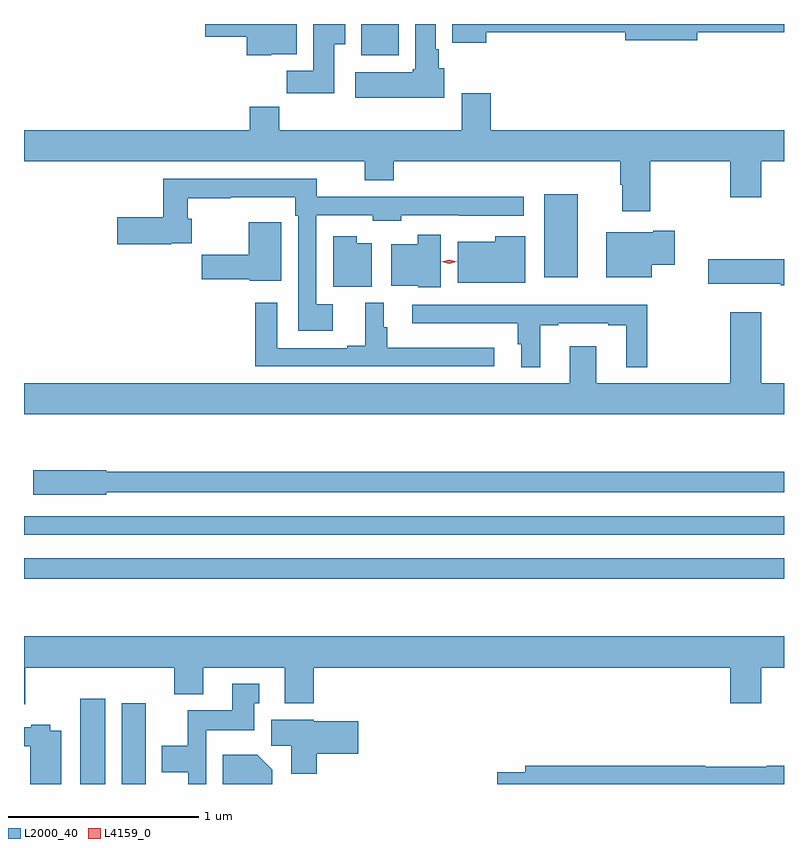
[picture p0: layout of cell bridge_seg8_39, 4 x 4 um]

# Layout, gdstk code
import gdstk
lib = gdstk.Library(unit=1e-6, precision=1e-09)
def R(c, l, rs):  # rectangles x0, y0, x1, y1
    for r in rs: c.add(gdstk.rectangle(r[:2], r[2:], *l))
def P(c, l, *ps):  # polygons
    for p in ps: c.add(gdstk.Polygon(p, *l))
L2000_40 = (2000, 40)
L4159_0 = (4159, 0)

bridge_seg8_39 = lib.new_cell('bridge_seg8_39')
R(bridge_seg8_39, L2000_40, [(1024.724,1130.539,1024.855,1130.989), (1024.943,1130.539,1025.068,1130.965), (1024.428,1131.618,1028.428,1131.726), (1024.428,1131.852,1028.428,1131.948), (1027.166,1133.207,1027.342,1133.644), (1026.203,1134.374,1026.4,1134.539)])
P(bridge_seg8_39, L2000_40, [(1026.061,1134.433),(1026.118,1134.433),(1026.118,1134.539),(1025.951,1134.539),(1025.951,1134.292),(1025.812,1134.292),(1025.812,1134.174),(1026.061,1134.174)],
  [(1026.862,1134.496),(1027.592,1134.496),(1027.592,1134.454),(1027.972,1134.454),(1027.972,1134.496),(1028.428,1134.496),(1028.428,1134.539),(1026.683,1134.539),(1026.683,1134.44),(1026.862,1134.44)],
  [(1025.73,1134.38),(1025.863,1134.38),(1025.863,1134.539),(1025.382,1134.539),(1025.382,1134.473),(1025.6,1134.473),(1025.6,1134.374),(1025.73,1134.374)],
  [(1026.64,1134.306),(1026.61,1134.306),(1026.61,1134.406),(1026.595,1134.406),(1026.595,1134.539),(1026.488,1134.539),(1026.488,1134.3),(1026.475,1134.3),(1026.475,1134.286),(1026.171,1134.286),(1026.171,1134.152),(1026.64,1134.152)],
  [(1027.725,1133.816),(1028.144,1133.816),(1028.144,1133.628),(1028.308,1133.628),(1028.308,1133.816),(1028.428,1133.816),(1028.428,1133.98),(1026.884,1133.98),(1026.884,1134.175),(1026.731,1134.175),(1026.731,1133.98),(1025.771,1133.98),(1025.771,1134.104),(1025.615,1134.104),(1025.615,1133.98),(1024.428,1133.98),(1024.428,1133.816),(1026.221,1133.816),(1026.221,1133.717),(1026.374,1133.717),(1026.374,1133.816),(1027.565,1133.816),(1027.565,1133.693),(1027.577,1133.693),(1027.577,1133.553),(1027.725,1133.553)],
  [(1026.052,1133.065),(1025.967,1133.065),(1025.967,1133.532),(1026.264,1133.532),(1026.264,1133.504),(1026.414,1133.504),(1026.414,1133.532),(1026.718,1133.532),(1026.718,1133.531),(1027.057,1133.531),(1027.057,1133.63),(1025.97,1133.63),(1025.97,1133.724),(1025.161,1133.724),(1025.161,1133.523),(1024.92,1133.523),(1024.92,1133.381),(1025.204,1133.381),(1025.204,1133.386),(1025.31,1133.386),(1025.31,1133.515),(1025.29,1133.515),(1025.29,1133.623),(1025.516,1133.623),(1025.516,1133.627),(1025.855,1133.627),(1025.855,1133.531),(1025.871,1133.531),(1025.871,1132.925),(1026.052,1132.925)],
  [(1025.782,1133.393),(1025.781,1133.393),(1025.781,1133.496),(1025.612,1133.496),(1025.612,1133.325),(1025.364,1133.325),(1025.364,1133.195),(1025.616,1133.195),(1025.616,1133.189),(1025.782,1133.189)],
  [(1027.732,1133.273),(1027.852,1133.273),(1027.852,1133.451),(1027.739,1133.451),(1027.739,1133.443),(1027.493,1133.443),(1027.493,1133.207),(1027.732,1133.207)],
  [(1026.622,1133.431),(1026.5,1133.431),(1026.5,1133.38),(1026.362,1133.38),(1026.362,1133.162),(1026.504,1133.162),(1026.504,1133.153),(1026.622,1133.153)],
  [(1027.066,1133.422),(1026.909,1133.422),(1026.909,1133.392),(1026.71,1133.392),(1026.71,1133.177),(1027.066,1133.177)],
  [(1026.259,1133.386),(1026.178,1133.386),(1026.178,1133.422),(1026.056,1133.422),(1026.056,1133.156),(1026.259,1133.156)],
  [(1028.428,1133.3),(1028.412,1133.3),(1028.412,1133.301),(1028.028,1133.301),(1028.028,1133.171),(1028.412,1133.171),(1028.412,1133.164),(1028.428,1133.164)],
  [(1026.904,1132.834),(1026.341,1132.834),(1026.341,1132.944),(1026.322,1132.944),(1026.322,1133.071),(1026.224,1133.071),(1026.224,1132.846),(1026.128,1132.846),(1026.128,1132.833),(1025.76,1132.833),(1025.76,1133.071),(1025.644,1133.071),(1025.644,1132.737),(1026.904,1132.737)],
  [(1027.144,1132.953),(1027.24,1132.953),(1027.24,1132.965),(1027.502,1132.965),(1027.502,1132.953),(1027.598,1132.953),(1027.598,1132.733),(1027.708,1132.733),(1027.708,1133.062),(1027.17,1133.062),(1027.17,1133.061),(1026.471,1133.061),(1026.471,1132.964),(1027.027,1132.964),(1027.027,1132.854),(1027.046,1132.854),(1027.046,1132.733),(1027.144,1132.733)],
  [(1028.428,1132.648),(1028.308,1132.648),(1028.308,1133.023),(1028.144,1133.023),(1028.144,1132.648),(1027.441,1132.648),(1027.441,1132.843),(1027.301,1132.843),(1027.301,1132.648),(1024.428,1132.648),(1024.428,1132.484),(1028.428,1132.484)],
  [(1024.86,1132.074),(1028.428,1132.074),(1028.428,1132.183),(1024.86,1132.183),(1024.86,1132.191),(1024.476,1132.191),(1024.476,1132.061),(1024.86,1132.061)],
  [(1024.435,1131.152),(1025.219,1131.152),(1025.219,1131.011),(1025.371,1131.011),(1025.371,1131.152),(1025.801,1131.152),(1025.801,1130.963),(1025.954,1130.963),(1025.954,1131.152),(1028.144,1131.152),(1028.144,1130.964),(1028.308,1130.964),(1028.308,1131.152),(1028.428,1131.152),(1028.428,1131.316),(1024.428,1131.316),(1024.428,1130.958),(1024.435,1130.958)],
  [(1025.388,1130.822),(1025.641,1130.822),(1025.641,1130.964),(1025.665,1130.964),(1025.665,1131.067),(1025.525,1131.067),(1025.525,1130.926),(1025.29,1130.926),(1025.29,1130.74),(1025.153,1130.74),(1025.153,1130.6),(1025.292,1130.6),(1025.292,1130.539),(1025.388,1130.539)],
  [(1025.969,1130.699),(1026.187,1130.699),(1026.187,1130.869),(1025.952,1130.869),(1025.952,1130.878),(1025.729,1130.878),(1025.729,1130.74),(1025.834,1130.74),(1025.834,1130.592),(1025.969,1130.592)],
  [(1024.624,1130.818),(1024.566,1130.818),(1024.566,1130.851),(1024.466,1130.851),(1024.466,1130.838),(1024.428,1130.838),(1024.428,1130.737),(1024.462,1130.737),(1024.462,1130.539),(1024.624,1130.539)],
  [(1025.734,1130.614),(1025.656,1130.692),(1025.473,1130.692),(1025.473,1130.539),(1025.734,1130.539)],
  [(1028.428,1130.636),(1028.336,1130.636),(1028.336,1130.629),(1028.014,1130.629),(1028.014,1130.636),(1027.067,1130.636),(1027.067,1130.6),(1026.918,1130.6),(1026.918,1130.539),(1028.428,1130.539)])
P(bridge_seg8_39, L4159_0, [(1026.666,1133.277),(1026.626,1133.287),(1026.626,1133.287),(1026.626,1133.288),(1026.666,1133.297),(1026.705,1133.288),(1026.706,1133.287),(1026.705,1133.287)])

lib.write_gds('bridge_seg8_39.gds')
